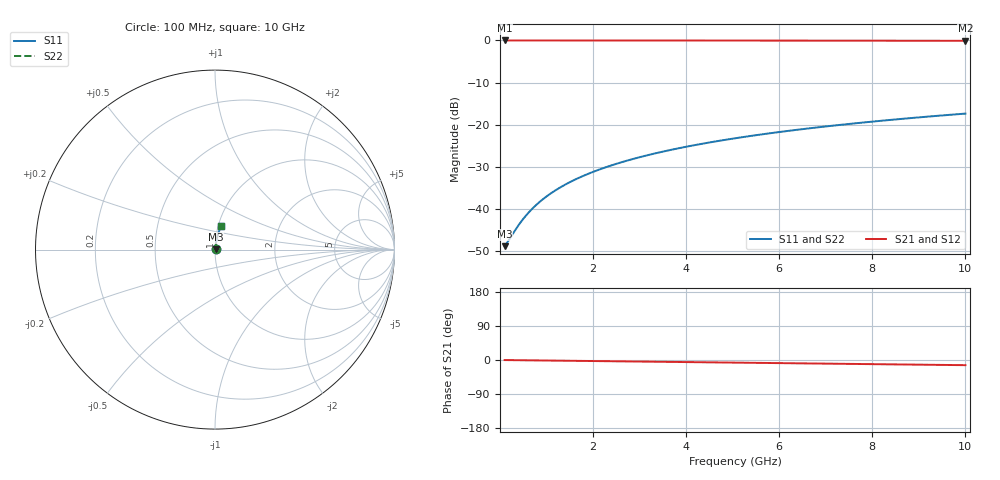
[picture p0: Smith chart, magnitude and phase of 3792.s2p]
# Hz S RI R 50.00
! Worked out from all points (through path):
!   100 points, 100 MHz to 10 GHz, reference 50 ohm
!   highest |S21| = -0.03 dB at 100 MHz (marker M1); lowest = -0.1 dB at 10 GHz (marker M2)
!   group delay of S21, straight-line fit = 3.79 ps
!   lowest |S11| = -48.8 dB at 100 MHz (marker M3), VSWR 1.01, Z = 50.3 + j0.137 ohm
!   |S11| at or under -10 dB: start of sweep to end of sweep
!   |S22| runs from -48.8 to -17.4 dB; largest |S21 - S12| = 0
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1e8  0.00337 0.00136  0.9966 -0.00238  0.9966 -0.00238  0.00337 0.00136
2e8  0.00341 0.00272  0.9966 -0.00476  0.9966 -0.00476  0.00341 0.00272
4e8  0.00347 0.00545  0.9965 -0.00952  0.9965 -0.00952  0.00347 0.00545
5e8  0.00351 0.00681  0.9965 -0.0119  0.9965 -0.0119  0.00351 0.00681
6e8  0.00356 0.00817  0.9964 -0.0143  0.9964 -0.0143  0.00356 0.00817
7e8  0.00361 0.00953  0.9964 -0.0167  0.9964 -0.0167  0.00361 0.00953
8e8  0.00367 0.0109  0.9963 -0.019  0.9963 -0.019  0.00367 0.0109
1e9  0.0038 0.0136  0.9961 -0.0238  0.9961 -0.0238  0.0038 0.0136
1.2e9  0.00395 0.0163  0.996 -0.0285  0.996 -0.0285  0.00395 0.0163
1.5e9  0.00423 0.0204  0.9956 -0.0357  0.9956 -0.0357  0.00423 0.0204
1.8e9  0.00457 0.0245  0.9952 -0.0428  0.9952 -0.0428  0.00457 0.0245
2.1e9  0.00496 0.0285  0.9948 -0.0499  0.9948 -0.0499  0.00496 0.0285
2.5e9  0.00558 0.0339  0.9941 -0.0594  0.9941 -0.0594  0.00558 0.0339
2.9e9  0.00629 0.0393  0.9932 -0.0689  0.9932 -0.0689  0.00629 0.0393
3.4e9  0.00733 0.0461  0.992 -0.0807  0.992 -0.0807  0.00733 0.0461
4.2e9  0.00932 0.0568  0.9897 -0.0996  0.9897 -0.0996  0.00932 0.0568
5.1e9  0.012 0.0687  0.9866 -0.1207  0.9866 -0.1207  0.012 0.0687
5.9e9  0.0149 0.0792  0.9832 -0.1394  0.9832 -0.1394  0.0149 0.0792
6.7e9  0.0181 0.0895  0.9795 -0.158  0.9795 -0.158  0.0181 0.0895
7.5e9  0.0218 0.0998  0.9752 -0.1764  0.9752 -0.1764  0.0218 0.0998
8.4e9  0.0263 0.1111  0.9699 -0.197  0.9699 -0.197  0.0263 0.1111
1e10  0.0356 0.1307  0.9591 -0.233  0.9591 -0.233  0.0356 0.1307
